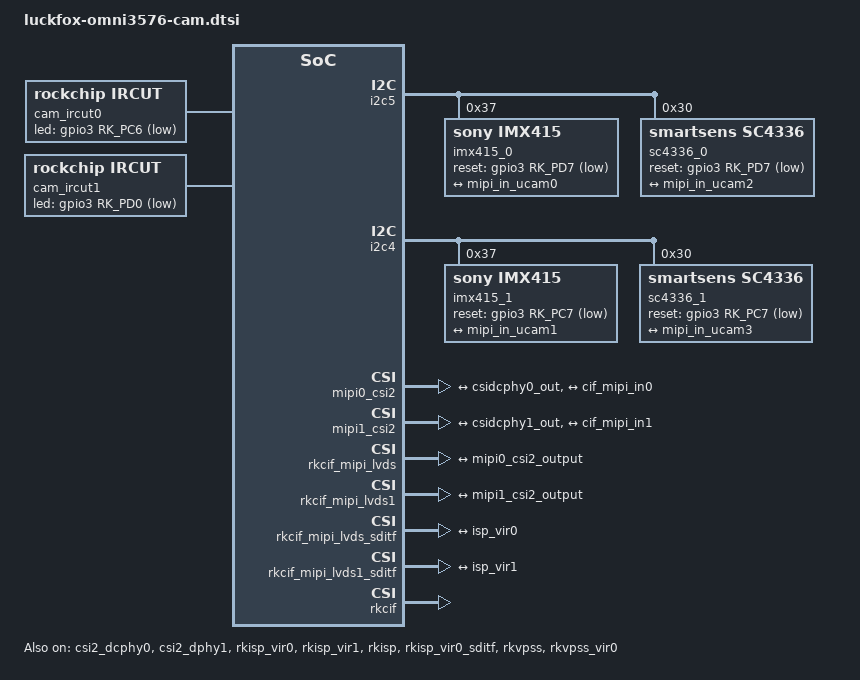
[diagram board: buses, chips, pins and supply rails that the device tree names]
// SPDX-License-Identifier: (GPL-2.0+ OR MIT)
/*
 * Copyright (c) 2024 Luckfox Technology Co., Ltd.
 *
 */

/ {
    cam_ircut0: cam_ircut0 {
        status = "okay";
        compatible = "rockchip,ircut";
        led-gpios = <&gpio3 RK_PC6 GPIO_ACTIVE_LOW>;
        // ircut-open-gpios = <&gpio4 RK_PC6 GPIO_ACTIVE_HIGH>;
        // ircut-close-gpios  = <&gpio4 RK_PC7 GPIO_ACTIVE_HIGH>;
        rockchip,camera-module-index = <0>;
        rockchip,camera-module-facing = "front";
    };

    cam_ircut1: cam_ircut1 {
        status = "okay";
        compatible = "rockchip,ircut";
        led-gpios = <&gpio3 RK_PD0 GPIO_ACTIVE_LOW>;
        // ircut-open-gpios = <&gpio4 RK_PC6 GPIO_ACTIVE_HIGH>;
        // ircut-close-gpios  = <&gpio4 RK_PC7 GPIO_ACTIVE_HIGH>;
        rockchip,camera-module-index = <1>;
        rockchip,camera-module-facing = "back";
    };
};

&i2c5 {
	status = "okay";
	pinctrl-0 = <&i2c5m3_xfer>;

	imx415_0: imx415_0@37 {
		status = "okay";
		compatible = "sony,imx415";
		reg = <0x37>;
		clocks = <&cru CLK_MIPI_CAMERAOUT_M0>;
		clock-names = "xvclk";
		pinctrl-names = "default";
		pinctrl-0 = <&cam0_reset_gpio>;
		power-domains = <&power RK3576_PD_VI>;
		reset-gpios = <&gpio3 RK_PD7 GPIO_ACTIVE_LOW>;
		rockchip,camera-module-index = <0>;
		rockchip,camera-module-facing = "back";
		rockchip,camera-module-name = "CMK-OT2022-PX1";
		rockchip,camera-module-lens-name = "IR0147-50IRC-8M-F20";
		lens-focus = <&cam_ircut0>;
		port {
			imx415_out0: endpoint {
				remote-endpoint = <&mipi_in_ucam0>;
				data-lanes = <1 2 3 4>;
			};
		};
	};
	sc4336_0: sc4336_0@30 {
		compatible = "smartsens,sc4336";
		status = "okay";
		reg = <0x30>;
		clocks = <&cru CLK_MIPI_CAMERAOUT_M0>;
		clock-names = "xvclk";
		pinctrl-names = "default";
		power-domains = <&power RK3576_PD_VI>;
		reset-gpios = <&gpio3 RK_PD7 GPIO_ACTIVE_LOW>;
		pinctrl-0 = <&cam0_reset_gpio>;
		rockchip,camera-module-index = <0>;
		rockchip,camera-module-facing = "back";
		rockchip,camera-module-name = "OT01";
		rockchip,camera-module-lens-name = "40IRC_F16";
		port {
			sc4336_out0: endpoint {
				remote-endpoint = <&mipi_in_ucam2>;
				data-lanes = <1 2>;
			};
		};
	};
};

&i2c4 {
	status = "okay";
	pinctrl-0 = <&i2c4m3_xfer>;

	imx415_1: imx415_1@37 {
		compatible = "sony,imx415";
		reg = <0x37>;
		clocks = <&cru CLK_MIPI_CAMERAOUT_M0>;
		clock-names = "xvclk";
		pinctrl-names = "default";
		pinctrl-0 = <&cam1_reset_gpio>;
		power-domains = <&power RK3576_PD_VI>;
        reset-gpios = <&gpio3 RK_PC7 GPIO_ACTIVE_LOW>;
		rockchip,camera-module-index = <1>;
		rockchip,camera-module-facing = "front";
		rockchip,camera-module-name = "CMK-OT2022-PX1";
		rockchip,camera-module-lens-name = "IR0147-50IRC-8M-F20";
		lens-focus = <&cam_ircut1>;
		port {
			imx415_out1: endpoint {
				remote-endpoint = <&mipi_in_ucam1>;
				data-lanes = <1 2 3 4>;
			};
		};
	};
	sc4336_1: sc4336_1@30 {
		compatible = "smartsens,sc4336";
		status = "okay";
		reg = <0x30>;
		clocks = <&cru CLK_MIPI_CAMERAOUT_M0>;
		clock-names = "xvclk";
		pinctrl-names = "default";
		power-domains = <&power RK3576_PD_VI>;
        reset-gpios = <&gpio3 RK_PC7 GPIO_ACTIVE_LOW>;
		pinctrl-0 = <&cam1_reset_gpio>;
		rockchip,camera-module-index = <0>;
		rockchip,camera-module-facing = "front";
		rockchip,camera-module-name = "OT01";
		rockchip,camera-module-lens-name = "40IRC_F16";
		port {
			sc4336_out1: endpoint {
				remote-endpoint = <&mipi_in_ucam3>;
				data-lanes = <1 2>;
			};
		};
	};
};

/*-----------------------------------------------------------------------*/

&csi2_dcphy0 {
	status = "okay";

	ports {
		#address-cells = <1>;
		#size-cells = <0>;
		port@0 {
			reg = <0>;
			#address-cells = <1>;
			#size-cells = <0>;

			mipi_in_ucam0: endpoint@1 {
				reg = <1>;
				remote-endpoint = <&imx415_out0>;
				data-lanes = <1 2 3 4>;
			};
			mipi_in_ucam2: endpoint@2 {
				reg = <2>;
				remote-endpoint = <&sc4336_out0>;
				data-lanes = <1 2>;
			};
		};
		port@1 {
			reg = <1>;
			#address-cells = <1>;
			#size-cells = <0>;

			csidcphy0_out: endpoint@0 {
				reg = <0>;
				remote-endpoint = <&mipi0_csi2_input>;
			};
		};
	};
};

&csi2_dphy1 {
	status = "okay";

	ports {
		#address-cells = <1>;
		#size-cells = <0>;
		port@0 {
			reg = <0>;
			#address-cells = <1>;
			#size-cells = <0>;

			mipi_in_ucam1: endpoint@1 {
				reg = <1>;
				remote-endpoint = <&imx415_out1>;
				data-lanes = <1 2 3 4>;
			};
			mipi_in_ucam3: endpoint@2 {
				reg = <2>;
				remote-endpoint = <&sc4336_out1>;
				data-lanes = <1 2>;
			};

		};
		port@1 {
			reg = <1>;
			#address-cells = <1>;
			#size-cells = <0>;

			csidcphy1_out: endpoint@0 {
				reg = <0>;
				remote-endpoint = <&mipi1_csi2_input>;
			};
		};
	};
};

/*-----------------------------------------------------------------------*/

&mipi0_csi2 {
	status = "okay";

	ports {
		#address-cells = <1>;
		#size-cells = <0>;

		port@0 {
			reg = <0>;
			#address-cells = <1>;
			#size-cells = <0>;

			mipi0_csi2_input: endpoint@1 {
				reg = <1>;
				remote-endpoint = <&csidcphy0_out>;
			};
		};

		port@1 {
			reg = <1>;
			#address-cells = <1>;
			#size-cells = <0>;

			mipi0_csi2_output: endpoint@0 {
				reg = <0>;
				remote-endpoint = <&cif_mipi_in0>;
			};
		};
	};
};

&mipi1_csi2 {
	status = "okay";

	ports {
		#address-cells = <1>;
		#size-cells = <0>;

		port@0 {
			reg = <0>;
			#address-cells = <1>;
			#size-cells = <0>;

			mipi1_csi2_input: endpoint@1 {
				reg = <1>;
				remote-endpoint = <&csidcphy1_out>;
			};
		};

		port@1 {
			reg = <1>;
			#address-cells = <1>;
			#size-cells = <0>;

			mipi1_csi2_output: endpoint@0 {
				reg = <0>;
				remote-endpoint = <&cif_mipi_in1>;
			};
		};
	};
};

/*-----------------------------------------------------------------------*/

&rkcif_mipi_lvds {
	status = "okay";

	port {
		cif_mipi_in0: endpoint {
			remote-endpoint = <&mipi0_csi2_output>;
		};
	};
};

&rkcif_mipi_lvds1 {
	status = "okay";

	port {
		cif_mipi_in1: endpoint {
			remote-endpoint = <&mipi1_csi2_output>;
		};
	};
};

/*-----------------------------------------------------------------------*/

&rkcif_mipi_lvds_sditf {
	status = "okay";

	port {
		mipi_lvds_sditf: endpoint {
			remote-endpoint = <&isp_vir0>;
		};
	};
};

&rkcif_mipi_lvds1_sditf {
	status = "okay";

	port {
		mipi_lvds1_sditf: endpoint {
			remote-endpoint = <&isp_vir1>;
		};
	};
};

/*-----------------------------------------------------------------------*/

&rkisp_vir0 {
	status = "okay";

	port {
		#address-cells = <1>;
		#size-cells = <0>;

		isp_vir0: endpoint@0 {
			reg = <0>;
			remote-endpoint = <&mipi_lvds_sditf>;
		};
	};
};

&rkisp_vir1 {
	status = "okay";

	port {
		#address-cells = <1>;
		#size-cells = <0>;

		isp_vir1: endpoint@0 {
			reg = <0>;
			remote-endpoint = <&mipi_lvds1_sditf>;
		};
	};
};

/*-----------------------------------------------------------------------*/

&rkcif {
	status = "okay";
};

&rkcif_mmu {
	status = "okay";
};

&rkisp {
	status = "okay";
};

&rkisp_mmu {
	status = "okay";
};

&rkisp_vir0_sditf {
	status = "okay";
};

&rkvpss {
	status = "okay";
};

&rkvpss_mmu {
	status = "okay";
};

&rkvpss_vir0 {
	status = "okay";
};

/*-----------------------------------------------------------------------*/

&pinctrl {
	cam {
		cam0_reset_gpio: cam0-reset-gpio {
			rockchip,pins =	<3 RK_PD7 RK_FUNC_GPIO &pcfg_pull_up>;
		};

		cam1_reset_gpio: cam1-reset-gpio {
			rockchip,pins = <3 RK_PC7 RK_FUNC_GPIO &pcfg_pull_up>;
		};
	};
};
